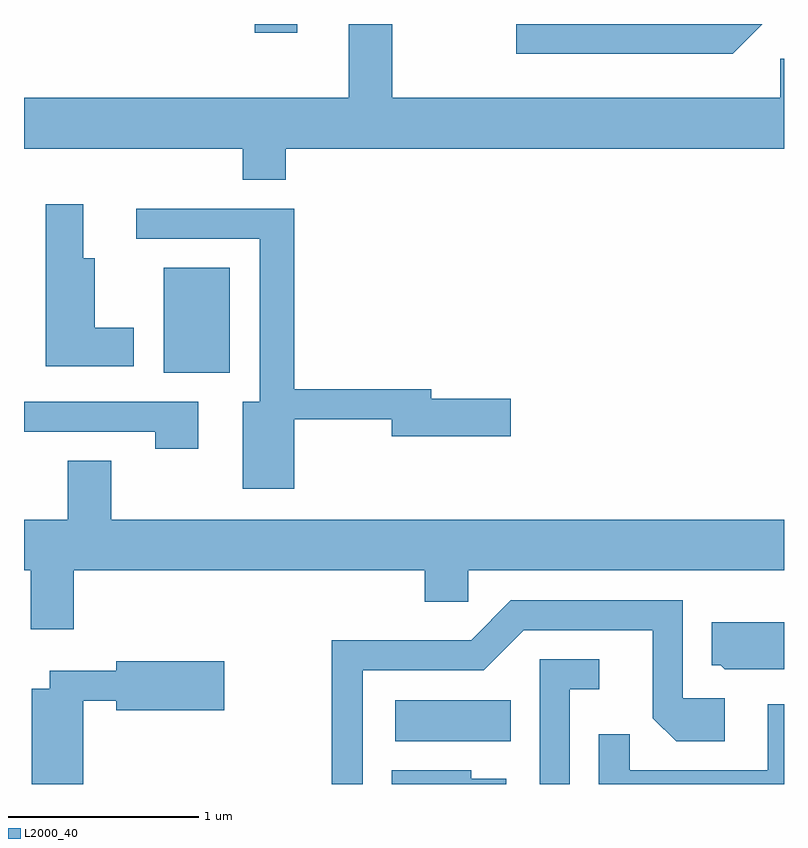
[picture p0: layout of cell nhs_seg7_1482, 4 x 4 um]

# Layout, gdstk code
import gdstk
lib = gdstk.Library(unit=1e-6, precision=1e-09)
def R(c, l, rs):  # rectangles x0, y0, x1, y1
    for r in rs: c.add(gdstk.rectangle(r[:2], r[2:], *l))
def P(c, l, *ps):  # polygons
    for p in ps: c.add(gdstk.Polygon(p, *l))
L2000_40 = (2000, 40)

nhs_seg7_1482 = lib.new_cell('nhs_seg7_1482')
R(nhs_seg7_1482, L2000_40, [(231.566,1764.476,232.174,1764.694), (230.346,1766.416,230.694,1766.969), (230.826,1768.206,231.049,1768.252)])
P(nhs_seg7_1482, L2000_40, [(230.989,1767.596),(233.611,1767.596),(233.611,1768.069),(233.591,1768.069),(233.591,1767.864),(231.549,1767.864),(231.549,1768.252),(231.321,1768.252),(231.321,1767.864),(229.611,1767.864),(229.611,1767.596),(230.761,1767.596),(230.761,1767.431),(230.989,1767.431)],
  [(233.497,1768.252),(232.203,1768.252),(232.203,1768.096),(233.342,1768.096)],
  [(230.189,1766.654),(229.984,1766.654),(229.984,1767.019),(229.924,1767.019),(229.924,1767.304),(229.726,1767.304),(229.726,1766.451),(230.189,1766.451)],
  [(231.034,1766.171),(231.546,1766.171),(231.546,1766.081),(232.174,1766.081),(232.174,1766.279),(231.754,1766.279),(231.754,1766.329),(231.034,1766.329),(231.034,1767.279),(230.203,1767.279),(230.203,1767.121),(230.851,1767.121),(230.851,1766.264),(230.761,1766.264),(230.761,1765.806),(231.034,1765.806)],
  [(230.529,1766.264),(229.611,1766.264),(229.611,1766.106),(230.301,1766.106),(230.301,1766.016),(230.529,1766.016)],
  [(229.874,1765.376),(231.721,1765.376),(231.721,1765.211),(231.949,1765.211),(231.949,1765.376),(233.611,1765.376),(233.611,1765.644),(230.069,1765.644),(230.069,1765.954),(229.841,1765.954),(229.841,1765.644),(229.611,1765.644),(229.611,1765.376),(229.646,1765.376),(229.646,1765.066),(229.874,1765.066)],
  [(231.394,1764.851),(232.032,1764.851),(232.242,1765.061),(232.921,1765.061),(232.921,1764.599),(233.044,1764.476),(233.299,1764.476),(233.299,1764.704),(233.079,1764.704),(233.079,1765.219),(232.174,1765.219),(231.964,1765.009),(231.231,1765.009),(231.231,1764.252),(231.394,1764.252)],
  [(233.611,1765.104),(233.231,1765.104),(233.231,1764.876),(233.279,1764.876),(233.299,1764.856),(233.611,1764.856)],
  [(232.484,1764.751),(232.638,1764.751),(232.638,1764.909),(232.326,1764.909),(232.326,1764.252),(232.484,1764.252)],
  [(229.924,1764.691),(230.096,1764.691),(230.096,1764.641),(230.664,1764.641),(230.664,1764.899),(230.096,1764.899),(230.096,1764.849),(229.746,1764.849),(229.746,1764.754),(229.651,1764.754),(229.651,1764.252),(229.924,1764.252)],
  [(233.611,1764.673),(233.526,1764.673),(233.526,1764.324),(232.799,1764.324),(232.799,1764.513),(232.636,1764.513),(232.636,1764.252),(233.611,1764.252)],
  [(232.149,1764.279),(231.964,1764.279),(231.964,1764.324),(231.546,1764.324),(231.546,1764.252),(232.149,1764.252)])

lib.write_gds('nhs_seg7_1482.gds')
